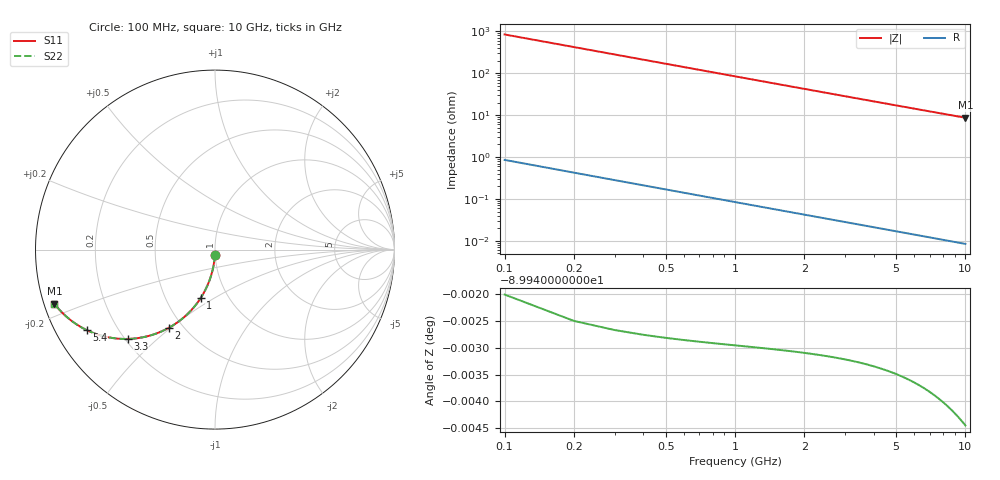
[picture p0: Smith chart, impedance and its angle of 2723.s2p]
# Hz S RI R 50.00
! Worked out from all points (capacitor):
!   100 points, 100 MHz to 10 GHz, reference 50 ohm
!   read as one part in shunt: C = 1.88 pF near 100 MHz
!   lowest |Z| = 8.69 ohm at 10 GHz (marker M1)
!   S11 on the Smith chart (normalised r, x): 100 MHz: 1.00, -0.06; 1 GHz: 0.74, -0.44; 2 GHz: 0.42, -0.49; 3.3 GHz: 0.21, -0.41; 5.4 GHz: 0.09, -0.29; 10 GHz: 0.03, -0.16
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1e8  -0.000897 -0.0295  0.9991 -0.0296  0.9991 -0.0296  -0.000897 -0.0295
2e8  -0.00354 -0.0589  0.9964 -0.0591  0.9964 -0.0591  -0.00354 -0.0589
3e8  -0.0079 -0.0879  0.9921 -0.0882  0.9921 -0.0882  -0.0079 -0.0879
4e8  -0.0139 -0.1165  0.9861 -0.1169  0.9861 -0.1169  -0.0139 -0.1165
5e8  -0.0215 -0.1445  0.9784 -0.1449  0.9784 -0.1449  -0.0215 -0.1445
6e8  -0.0307 -0.1717  0.9693 -0.1723  0.9693 -0.1723  -0.0307 -0.1717
7e8  -0.0413 -0.1981  0.9587 -0.1988  0.9587 -0.1988  -0.0413 -0.1981
8e8  -0.0532 -0.2235  0.9468 -0.2243  0.9468 -0.2243  -0.0532 -0.2235
1e9  -0.0806 -0.2712  0.9194 -0.2721  0.9194 -0.2721  -0.0806 -0.2712
1.2e9  -0.1119 -0.3142  0.8881 -0.3153  0.8881 -0.3153  -0.1119 -0.3142
1.4e9  -0.1462 -0.3522  0.8538 -0.3535  0.8538 -0.3535  -0.1462 -0.3522
1.8e9  -0.2202 -0.413  0.7798 -0.4147  0.7798 -0.4147  -0.2202 -0.413
2e9  -0.2582 -0.4362  0.7418 -0.4381  0.7418 -0.4381  -0.2582 -0.4362
2.6e9  -0.3696 -0.481  0.6304 -0.4834  0.6304 -0.4834  -0.3696 -0.481
3.3e9  -0.4848 -0.4977  0.5152 -0.5008  0.5152 -0.5008  -0.4848 -0.4977
3.4e9  -0.4996 -0.4979  0.5004 -0.5011  0.5004 -0.5011  -0.4996 -0.4979
4.2e9  -0.6028 -0.4868  0.3971 -0.4908  0.3971 -0.4908  -0.6028 -0.4868
5.1e9  -0.6904 -0.4593  0.3095 -0.4643  0.3095 -0.4643  -0.6904 -0.4593
5.4e9  -0.7141 -0.4487  0.2858 -0.4539  0.2858 -0.4539  -0.7141 -0.4487
6.7e9  -0.7931 -0.4013  0.2069 -0.4079  0.2069 -0.4079  -0.7931 -0.4013
8.4e9  -0.8573 -0.3452  0.1427 -0.3534  0.1427 -0.3534  -0.8573 -0.3452
1e10  -0.8947 -0.3014  0.1052 -0.3113  0.1052 -0.3113  -0.8947 -0.3014
